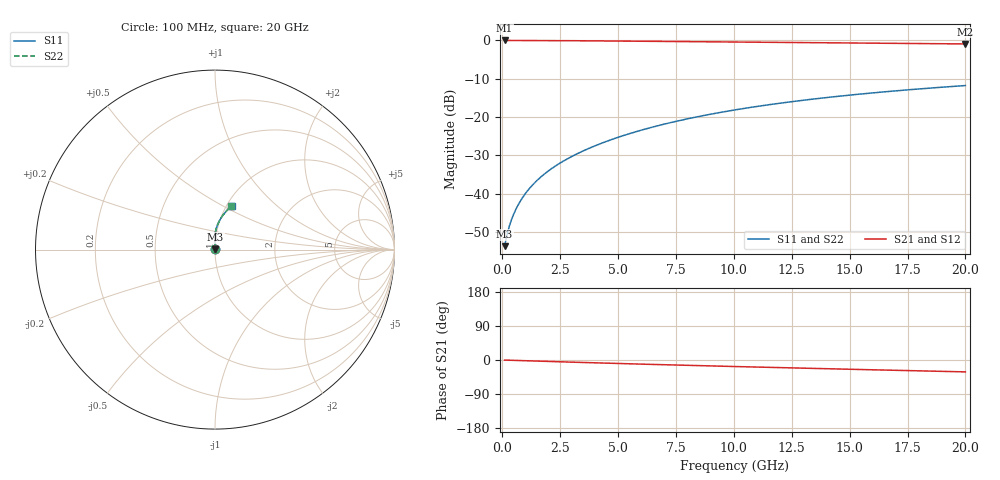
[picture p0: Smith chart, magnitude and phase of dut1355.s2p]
! Touchstone file exported from HFSS 2024.1.0
!  File:  C:/UserFiles/LocalFiles/RDL_TSV_Batchsim/temp_RDL_bottom_1355_1780370449.aedt
!  Generated:  11:23:11 AM Jun  2, 2026
!  Design:  RDL_bottom
!  Project:  temp_RDL_bottom_1355_1780370449
!  Setup:  Setup1
!  Solution:  Sweep
! Variables:
!  dtsv = 10.80580581um
!  hbump = 3um
!  htsv = 77.57um
!  ldown = 457.7um
!  lrdl = 100um
!  p = 40
!  p1 = 50.36um
!  rhole = 1um
!  t = 450um
!  tdown = 3.97um
!  trdl = 3.915915916um
!  wdown = 27.37um
!  wrdl = 20um
# GHz S MA R 50.000000
! Terminal data exported
! Port[1] = RDL1_T1
! Port[2] = RDL1_T2
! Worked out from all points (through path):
!   200 points, 100 MHz to 20 GHz, reference 50 ohm
!   highest |S21| = -0.02 dB at 100 MHz (marker M1); lowest = -0.9 dB at 20 GHz (marker M2)
!   group delay of S21, straight-line fit = 4.29 ps
!   lowest |S11| = -53.6 dB at 100 MHz (marker M3), VSWR 1.00, Z = 50.2 + j0.116 ohm
!   |S11| at or under -10 dB: start of sweep to end of sweep
!   |S22| runs from -53.6 to -11.8 dB; largest |S21 - S12| = 4.5e-15
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0.1  0.002079 33.9  0.9983 -0.2  0.9983 -0.2  0.002079 33.9
! Gamma 0 0 0 0
! Port Impedance 50 0 50 0
0.2  0.002893 50.2  0.9981 -0.4  0.9981 -0.4  0.002893 50.2
0.3  0.003757 58.6  0.9979 -0.6  0.9979 -0.6  0.003757 58.6
0.4  0.004624 64.1  0.9978 -0.8  0.9978 -0.8  0.004624 64.1
0.5  0.005502 68.2  0.9976 -1.0  0.9976 -1.0  0.005502 68.2
0.6  0.006395 71.3  0.9975 -1.2  0.9975 -1.2  0.006395 71.3
0.8  0.008223 75.8  0.9972 -1.6  0.9972 -1.6  0.008223 75.8
1.1  0.01105 80.1  0.9967 -2.1  0.9967 -2.1  0.01105 80.1
1.3  0.01298 82.1  0.9963 -2.5  0.9963 -2.5  0.01298 82.1
1.6  0.01594 84.4  0.9956 -3.1  0.9956 -3.1  0.01594 84.4
2.1  0.02102 86.9  0.9942 -4.0  0.9942 -4.0  0.02102 86.9
2.7  0.02739 88.8  0.992 -5.1  0.992 -5.1  0.02739 88.8
3.5  0.03634 90.3  0.9885 -6.6  0.9885 -6.6  0.03634 90.3
4.2  0.04461 91.0  0.9851 -7.8  0.9851 -7.8  0.04462 91.0
5  0.05454 91.2  0.9808 -9.2  0.9808 -9.2  0.05455 91.2
6.8  0.07838 90.2  0.9704 -12.2  0.9704 -12.2  0.0784 90.2
8.4  0.1007 88.3  0.9611 -14.7  0.9611 -14.7  0.1007 88.3
10.1  0.1249 85.8  0.9515 -17.3  0.9515 -17.3  0.125 85.8
11.7  0.1477 83.1  0.9427 -19.7  0.9427 -19.7  0.1478 83.1
13.4  0.1716 80.2  0.9336 -22.2  0.9336 -22.2  0.1717 80.2
16.7  0.2162 74.5  0.9164 -26.8  0.9164 -26.8  0.2163 74.6
20  0.2579 69.1  0.8994 -31.4  0.8994 -31.4  0.258 69.1
